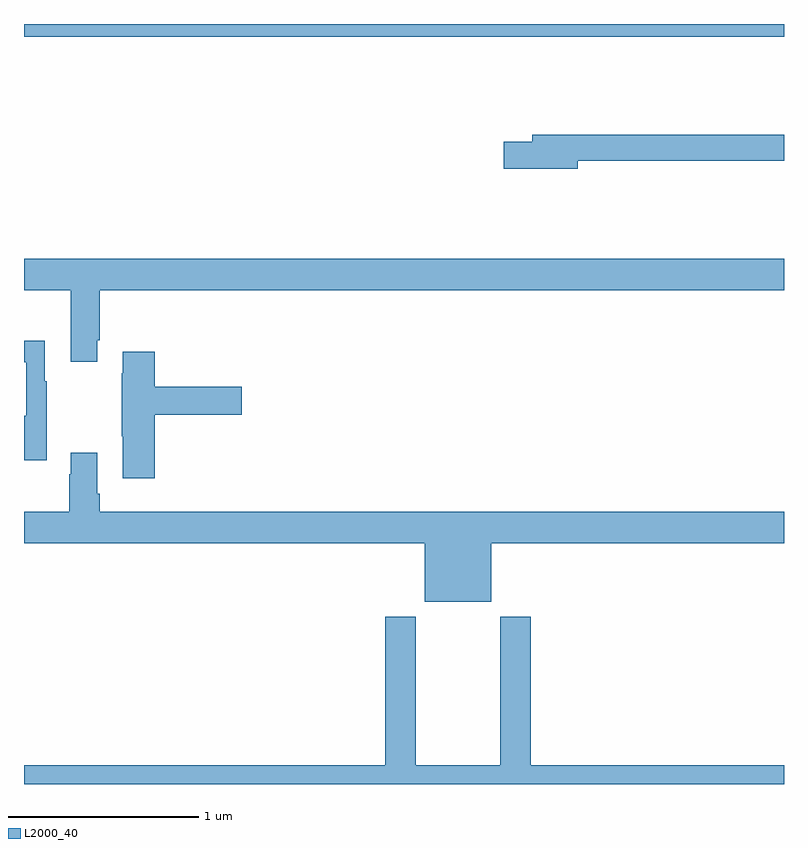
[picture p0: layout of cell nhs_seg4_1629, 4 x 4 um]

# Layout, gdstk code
import gdstk
lib = gdstk.Library(unit=1e-6, precision=1e-09)
def R(c, l, rs):  # rectangles x0, y0, x1, y1
    for r in rs: c.add(gdstk.rectangle(r[:2], r[2:], *l))
def P(c, l, *ps):  # polygons
    for p in ps: c.add(gdstk.Polygon(p, *l))
L2000_40 = (2000, 40)

nhs_seg4_1629 = lib.new_cell('nhs_seg4_1629')
R(nhs_seg4_1629, L2000_40, [(195,784.832,199,784.9)])
P(nhs_seg4_1629, L2000_40, [(197.914,784.18),(199,784.18),(199,784.316),(197.675,784.316),(197.675,784.28),(197.526,784.28),(197.526,784.138),(197.914,784.138)],
  [(195.385,783.235),(195.398,783.235),(195.398,783.5),(199,783.5),(199,783.664),(195,783.664),(195,783.5),(195.245,783.5),(195.245,783.123),(195.385,783.123)],
  [(195.121,783.019),(195.109,783.019),(195.109,783.232),(195,783.232),(195,783.119),(195.012,783.119),(195.012,782.839),(195,782.839),(195,782.603),(195.121,782.603)],
  [(195.689,782.843),(196.147,782.843),(196.147,782.99),(195.689,782.99),(195.689,783.175),(195.521,783.175),(195.521,783.062),(195.514,783.062),(195.514,782.731),(195.521,782.731),(195.521,782.508),(195.689,782.508)],
  [(197.458,782.168),(199,782.168),(199,782.332),(195.398,782.332),(195.398,782.428),(195.385,782.428),(195.385,782.644),(195.245,782.644),(195.245,782.531),(195.238,782.531),(195.238,782.332),(195,782.332),(195,782.168),(197.108,782.168),(197.108,781.859),(197.458,781.859)],
  [(199,781),(197.666,781),(197.666,781.78),(197.506,781.78),(197.506,781),(197.061,781),(197.061,781.78),(196.901,781.78),(196.901,781),(195,781),(195,780.9),(199,780.9)])

lib.write_gds('nhs_seg4_1629.gds')
